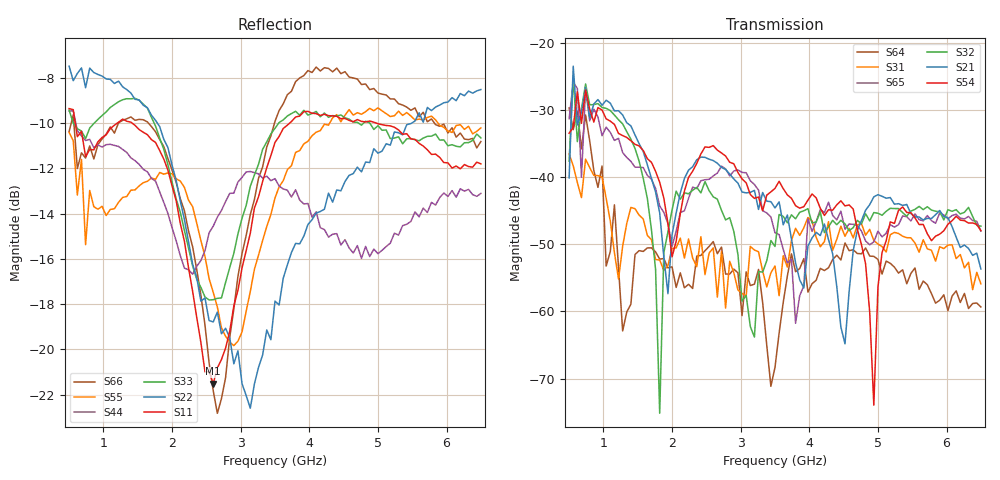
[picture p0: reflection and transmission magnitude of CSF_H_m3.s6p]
!Keysight Technologies,M9804A,MY58100912,A.14.10.03
!Date: Thursday, April 27, 2023 10:28:33
!Correction: S11(C  6-Port  )
!S12(C  6-Port  )
!S13(C  6-Port  )
!S14(C  6-Port  )
!S15(C  6-Port  )
!S16(C  6-Port  )
!S21(C  6-Port  )
!S22(C  6-Port  )
!S23(C  6-Port  )
!S24(C  6-Port  )
!S25(C  6-Port  )
!S26(C  6-Port  )
!S31(C  6-Port  )
!S32(C  6-Port  )
!S33(C  6-Port  )
!S34(C  6-Port  )
!S35(C  6-Port  )
!S36(C  6-Port  )
!S41(C  6-Port  )
!S42(C  6-Port  )
!S43(C  6-Port  )
!S44(C  6-Port  )
!S45(C  6-Port  )
!S46(C  6-Port  )
!S51(C  6-Port  )
!S52(C  6-Port  )
!S53(C  6-Port  )
!S54(C  6-Port  )
!S55(C  6-Port  )
!S56(C  6-Port  )
!S61(C  6-Port  )
!S62(C  6-Port  )
!S63(C  6-Port  )
!S64(C  6-Port  )
!S65(C  6-Port  )
!S66(C  6-Port  )
!S6P File: Measurement: :
# Hz S  RI  R 50
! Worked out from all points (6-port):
!   101 points, 500 MHz to 6.5 GHz, reference 50 ohm
!   strongest paths, dB at 500 MHz, 2 GHz, 3.5 GHz, 5 GHz, 6.5 GHz:
!     S54: -33.4, -51.9, -41.6, -56.4, -47.9
!     S21: -40.1, -48.5, -44.6, -42.6, -53.7
!     S32: -37.6, -44.9, -50.3, -45.3, -47.3
!     S65: -31.2, -50.3, -48.3, -48.0, -48.0
!     S31: -36.5, -50.6, -53.2, -49.9, -55.9
!     S64: -29.6, -53.3, -68.3, -52.2, -59.3
!   lowest |S11| = -21.5 dB at 2.6 GHz (marker M1), VSWR 1.18, Z = 42.5 + j2.15 ohm
!   |S11| at or under -10 dB: 589.8 MHz to 1.202 GHz (612.1 MHz wide, 68.3 % of centre); 1.418 GHz to 3.714 GHz (2.296 GHz wide, 89.5 % of centre); 4.976 GHz to end of sweep
